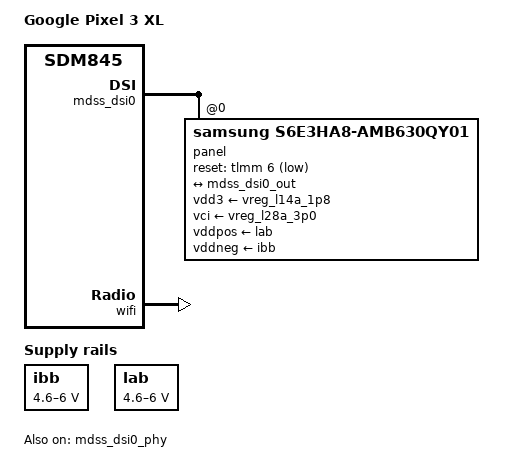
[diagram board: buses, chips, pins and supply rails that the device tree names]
// SPDX-License-Identifier: GPL-2.0-only

/dts-v1/;

#include "sdm845-google-common.dtsi"

/ {
	model = "Google Pixel 3 XL";
	compatible = "google,crosshatch", "qcom,sdm845";
};

&battery {
	charge-full-design-microamp-hours = <3480000>;
	voltage-min-design-microvolt = <3600000>;
	voltage-max-design-microvolt = <4400000>;
};

&framebuffer0 {
	width = <1440>;
	height = <2960>;
	stride = <(1440 * 4)>;
};

&ibb {
	regulator-min-microvolt = <4600000>;
	regulator-max-microvolt = <6000000>;
	regulator-over-current-protection;
	regulator-pull-down;
	regulator-soft-start;
};

&lab {
	regulator-min-microvolt = <4600000>;
	regulator-max-microvolt = <6000000>;
	regulator-soft-start;
	regulator-pull-down;
};

&mdss_dsi0 {
	vdda-supply = <&vdda_mipi_dsi0_1p2>;

	status = "okay";

	panel@0 {
		compatible = "samsung,s6e3ha8-amb630qy01";
		reg = <0>;

		vdd3-supply = <&vreg_l14a_1p8>;
		vci-supply = <&vreg_l28a_3p0>;
		vddpos-supply = <&lab>;
		vddneg-supply = <&ibb>;

		reset-gpios = <&tlmm 6 GPIO_ACTIVE_LOW>;

		pinctrl-0 = <&panel_default>;
		pinctrl-names = "default";

		port {
			panel_in: endpoint {
				remote-endpoint = <&mdss_dsi0_out>;
			};
		};
	};
};

&mdss_dsi0_out {
	data-lanes = <0 1 2 3>;
	remote-endpoint = <&panel_in>;
	qcom,te-source = "mdp_vsync_e";
};

&mdss_dsi0_phy {
	vdds-supply = <&vdda_mipi_dsi0_pll>;

	status = "okay";
};

&wifi {
	qcom,calibration-variant = "Google_crosshatch";
};
